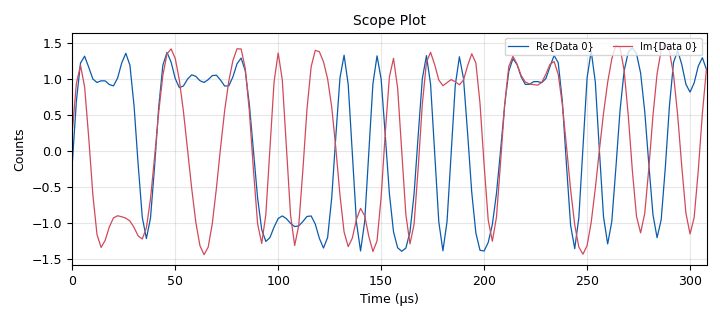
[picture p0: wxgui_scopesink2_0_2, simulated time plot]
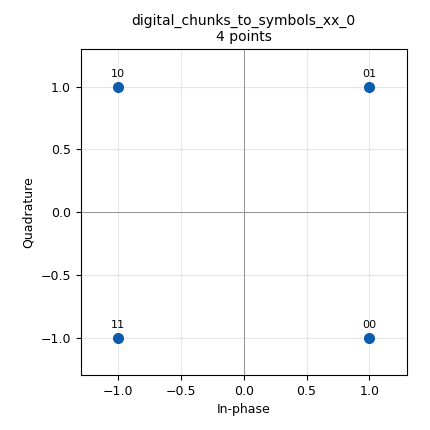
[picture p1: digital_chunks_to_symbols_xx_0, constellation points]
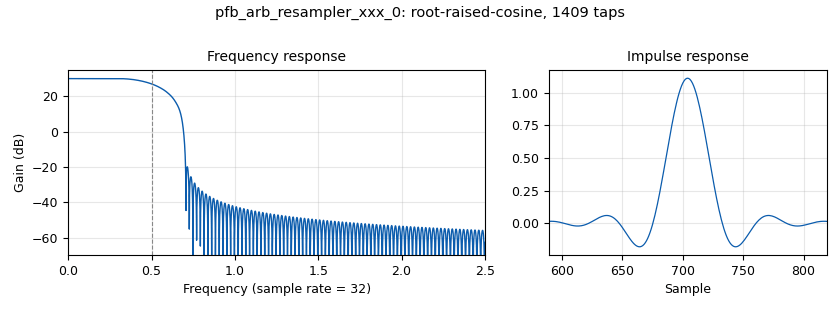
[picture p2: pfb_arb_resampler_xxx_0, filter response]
<?xml version='1.0' encoding='utf-8'?>
<?grc format='1' created='3.7.9'?>
<flow_graph>
<block>
<key>options</key>
<param><key>id</key><value>top_block</value></param>
<param><key>category</key><value>Custom</value></param>
<param><key>generate_options</key><value>wx_gui</value></param>
</block>
<block>
<key>variable</key>
<param><key>id</key><value>samp_rate</value></param>
<param><key>value</key><value>500e3</value></param>
</block>
<block>
<key>analog_random_source_x</key>
<param><key>id</key><value>analog_random_source_x_0</value></param>
<param><key>max</key><value>4</value></param>
<param><key>min</key><value>0</value></param>
<param><key>num_samps</key><value>1000</value></param>
<param><key>type</key><value>byte</value></param>
<param><key>repeat</key><value>True</value></param>
</block>
<block>
<key>analog_sig_source_x</key>
<param><key>id</key><value>analog_sig_source_x_0</value></param>
<param><key>amp</key><value>1</value></param>
<param><key>_enabled</key><value>0</value></param>
<param><key>freq</key><value>100e3</value></param>
<param><key>offset</key><value>0</value></param>
<param><key>type</key><value>complex</value></param>
<param><key>samp_rate</key><value>samp_rate</value></param>
<param><key>waveform</key><value>analog.GR_COS_WAVE</value></param>
</block>
<block>
<key>blocks_complex_to_real</key>
<param><key>id</key><value>blocks_complex_to_real_1</value></param>
<param><key>_enabled</key><value>0</value></param>
</block>
<block>
<key>blocks_file_sink</key>
<param><key>id</key><value>blocks_file_sink_0</value></param>
<param><key>_enabled</key><value>0</value></param>
<param><key>file</key><value>/home/alok/Desktop/5TH-SEM/EE340/Lab7/file1.bin</value></param>
<param><key>type</key><value>float</value></param>
</block>
<block>
<key>blocks_multiply_xx</key>
<param><key>id</key><value>blocks_multiply_xx_0</value></param>
<param><key>_enabled</key><value>0</value></param>
<param><key>type</key><value>complex</value></param>
</block>
<block>
<key>import</key>
<param><key>id</key><value>digital</value></param>
<param><key>import</key><value>from gnuradio import digital </value></param>
</block>
<block>
<key>digital_chunks_to_symbols_xx</key>
<param><key>id</key><value>digital_chunks_to_symbols_xx_0</value></param>
<param><key>dimension</key><value>1</value></param>
<param><key>in_type</key><value>byte</value></param>
<param><key>out_type</key><value>complex</value></param>
<param><key>symbol_table</key><value>((1-1j),(1+1j),(-1+1j),(-1-1j))</value></param>
</block>
<block>
<key>import</key>
<param><key>id</key><value>filt</value></param>
<param><key>import</key><value>from gnuradio import filter</value></param>
</block>
<block>
<key>pfb_arb_resampler_xxx</key>
<param><key>id</key><value>pfb_arb_resampler_xxx_0</value></param>
<param><key>nfilts</key><value>32</value></param>
<param><key>rrate</key><value>4</value></param>
<param><key>atten</key><value>100</value></param>
<param><key>taps</key><value>firdes.root_raised_cosine(32,32,1.0,0.4,11*32*4)</value></param>
<param><key>type</key><value>ccf</value></param>
</block>
<block>
<key>import</key>
<param><key>id</key><value>pi</value></param>
<param><key>import</key><value>from math import pi</value></param>
</block>
<block>
<key>wxgui_scopesink2</key>
<param><key>id</key><value>wxgui_scopesink2_0</value></param>
<param><key>ac_couple</key><value>True</value></param>
<param><key>_enabled</key><value>0</value></param>
<param><key>num_inputs</key><value>1</value></param>
<param><key>samp_rate</key><value>samp_rate</value></param>
<param><key>t_scale</key><value>0</value></param>
<param><key>title</key><value>Scope Plot</value></param>
<param><key>trig_mode</key><value>wxgui.TRIG_MODE_AUTO</value></param>
<param><key>type</key><value>complex</value></param>
<param><key>v_offset</key><value>0</value></param>
<param><key>v_scale</key><value>0</value></param>
<param><key>xy_mode</key><value>False</value></param>
<param><key>y_axis_label</key><value>Counts</value></param>
</block>
<block>
<key>wxgui_scopesink2</key>
<param><key>id</key><value>wxgui_scopesink2_0_0</value></param>
<param><key>ac_couple</key><value>True</value></param>
<param><key>_enabled</key><value>0</value></param>
<param><key>num_inputs</key><value>1</value></param>
<param><key>samp_rate</key><value>samp_rate</value></param>
<param><key>t_scale</key><value>0</value></param>
<param><key>title</key><value>Scope Plot</value></param>
<param><key>trig_mode</key><value>wxgui.TRIG_MODE_AUTO</value></param>
<param><key>type</key><value>complex</value></param>
<param><key>v_offset</key><value>0</value></param>
<param><key>v_scale</key><value>0</value></param>
<param><key>xy_mode</key><value>False</value></param>
<param><key>y_axis_label</key><value>Counts</value></param>
</block>
<block>
<key>wxgui_scopesink2</key>
<param><key>id</key><value>wxgui_scopesink2_0_1</value></param>
<param><key>ac_couple</key><value>True</value></param>
<param><key>_enabled</key><value>0</value></param>
<param><key>num_inputs</key><value>1</value></param>
<param><key>samp_rate</key><value>samp_rate</value></param>
<param><key>t_scale</key><value>0</value></param>
<param><key>title</key><value>Scope Plot</value></param>
<param><key>trig_mode</key><value>wxgui.TRIG_MODE_AUTO</value></param>
<param><key>type</key><value>float</value></param>
<param><key>v_offset</key><value>0</value></param>
<param><key>v_scale</key><value>0</value></param>
<param><key>xy_mode</key><value>False</value></param>
<param><key>y_axis_label</key><value>Counts</value></param>
</block>
<block>
<key>wxgui_scopesink2</key>
<param><key>id</key><value>wxgui_scopesink2_0_2</value></param>
<param><key>ac_couple</key><value>True</value></param>
<param><key>num_inputs</key><value>1</value></param>
<param><key>samp_rate</key><value>samp_rate</value></param>
<param><key>t_scale</key><value>0</value></param>
<param><key>title</key><value>Scope Plot</value></param>
<param><key>trig_mode</key><value>wxgui.TRIG_MODE_AUTO</value></param>
<param><key>type</key><value>complex</value></param>
<param><key>v_offset</key><value>0</value></param>
<param><key>v_scale</key><value>0</value></param>
<param><key>xy_mode</key><value>False</value></param>
<param><key>y_axis_label</key><value>Counts</value></param>
</block>
<connection><source_block_id>analog_random_source_x_0</source_block_id><sink_block_id>digital_chunks_to_symbols_xx_0</sink_block_id><source_key>0</source_key><sink_key>0</sink_key></connection>
<connection><source_block_id>analog_sig_source_x_0</source_block_id><sink_block_id>blocks_multiply_xx_0</sink_block_id><source_key>0</source_key><sink_key>1</sink_key></connection>
<connection><source_block_id>blocks_complex_to_real_1</source_block_id><sink_block_id>blocks_file_sink_0</sink_block_id><source_key>0</source_key><sink_key>0</sink_key></connection>
<connection><source_block_id>blocks_complex_to_real_1</source_block_id><sink_block_id>wxgui_scopesink2_0_1</sink_block_id><source_key>0</source_key><sink_key>0</sink_key></connection>
<connection><source_block_id>blocks_multiply_xx_0</source_block_id><sink_block_id>blocks_complex_to_real_1</sink_block_id><source_key>0</source_key><sink_key>0</sink_key></connection>
<connection><source_block_id>digital_chunks_to_symbols_xx_0</source_block_id><sink_block_id>pfb_arb_resampler_xxx_0</sink_block_id><source_key>0</source_key><sink_key>0</sink_key></connection>
<connection><source_block_id>digital_chunks_to_symbols_xx_0</source_block_id><sink_block_id>wxgui_scopesink2_0_0</sink_block_id><source_key>0</source_key><sink_key>0</sink_key></connection>
<connection><source_block_id>pfb_arb_resampler_xxx_0</source_block_id><sink_block_id>blocks_multiply_xx_0</sink_block_id><source_key>0</source_key><sink_key>0</sink_key></connection>
<connection><source_block_id>pfb_arb_resampler_xxx_0</source_block_id><sink_block_id>wxgui_scopesink2_0</sink_block_id><source_key>0</source_key><sink_key>0</sink_key></connection>
<connection><source_block_id>pfb_arb_resampler_xxx_0</source_block_id><sink_block_id>wxgui_scopesink2_0_2</sink_block_id><source_key>0</source_key><sink_key>0</sink_key></connection>
</flow_graph>
